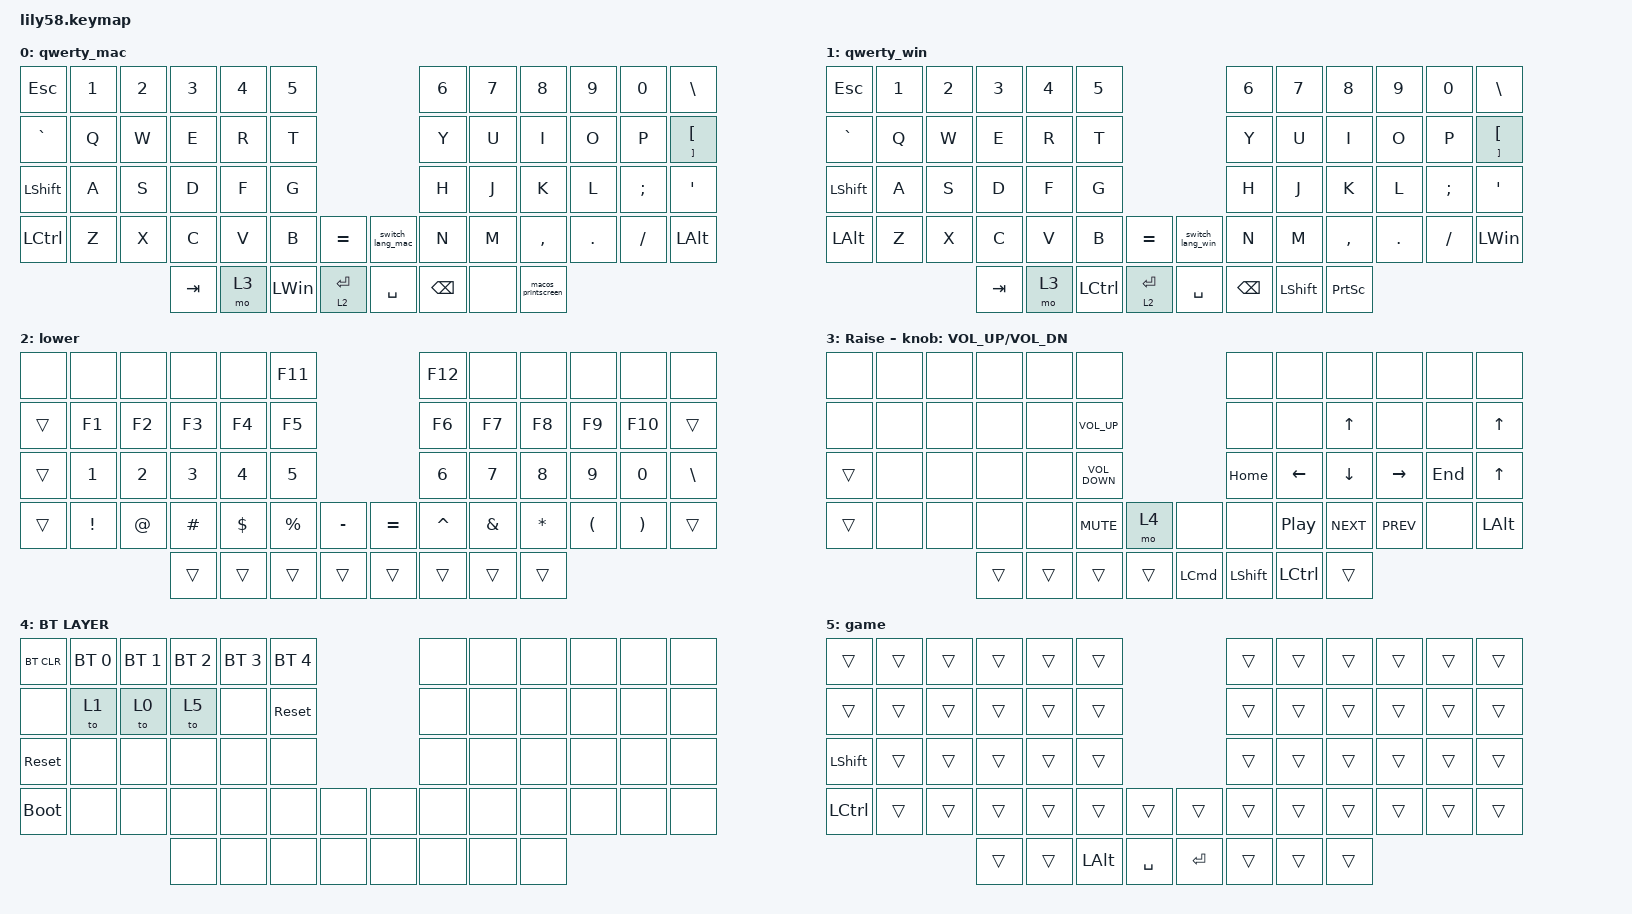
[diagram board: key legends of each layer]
/*
 * Copyright (c) 2020 The ZMK Contributors
 *
 * SPDX-License-Identifier: MIT
 */

#include <behaviors.dtsi>
#include <dt-bindings/zmk/bt.h>
#include <dt-bindings/zmk/keys.h>

/ {
    behaviors {
        //
        // Custom shifted pairs for the Engram layout
        // https://engram.dev/
        //
    };

    combos { compatible = "zmk,combos"; };

    macros {
        switch_lang_win: new_macro {
            compatible = "zmk,behavior-macro";
            #binding-cells = <0>;
            bindings =
                <&macro_press>,
                <&kp LEFT_ALT>,
                <&macro_tap>,
                <&kp LSHFT>,
                <&macro_release>,
                <&kp LEFT_ALT>;

            label = "NEW_MACRO";
        };

        macos_printscreen: macos_printscreen {
            compatible = "zmk,behavior-macro";
            #binding-cells = <0>;
            bindings =
                <&macro_press>,
                <&kp LEFT_COMMAND>,
                <&macro_press>,
                <&kp LEFT_SHIFT>,
                <&macro_press>,
                <&kp LEFT_CONTROL>,
                <&macro_tap>,
                <&kp NUMBER_4>,
                <&macro_release>,
                <&kp LEFT_WIN>,
                <&macro_release>,
                <&kp LEFT_SHIFT>,
                <&macro_release>,
                <&kp LEFT_CONTROL>;

            label = "MACOS_PRINTSCREEN";
        };

        switch_lang_mac: switch_lang_mac {
            compatible = "zmk,behavior-macro";
            #binding-cells = <0>;
            bindings =
                <&macro_press>,
                <&kp LEFT_CONTROL>,
                <&macro_tap>,
                <&kp SPACE>,
                <&macro_release>,
                <&kp LEFT_CONTROL>;

            label = "SWITCH_LANG_MAC";
        };
    };

    keymap {
        compatible = "zmk,keymap";

        qwerty_mac {
            bindings = <
&kp ESC         &kp N1  &kp N2  &kp N3   &kp N4  &kp N5                                       &kp N6    &kp N7  &kp N8              &kp N9   &kp N0    &kp BSLH
&kp GRAVE       &kp Q   &kp W   &kp E    &kp R   &kp T                                        &kp Y     &kp U   &kp I               &kp O    &kp P     &mt RIGHT_BRACKET LEFT_BRACKET
&kp LEFT_SHIFT  &kp A   &kp S   &kp D    &kp F   &kp G                                        &kp H     &kp J   &kp K               &kp L    &kp SEMI  &kp SQT
&kp LCTRL       &kp Z   &kp X   &kp C    &kp V   &kp B         &kp EQUAL    &switch_lang_mac  &kp N     &kp M   &kp COMMA           &kp DOT  &kp FSLH  &kp LEFT_ALT
                                &kp TAB  &mo 3   &kp LEFT_WIN  &lt 2 RET    &kp SPACE         &kp BSPC  &none   &macos_printscreen
            >;
        };

        qwerty_win {
            bindings = <
&kp ESC         &kp N1  &kp N2  &kp N3   &kp N4  &kp N5                                    &kp N6         &kp N7          &kp N8           &kp N9   &kp N0    &kp BACKSLASH
&kp GRAVE       &kp Q   &kp W   &kp E    &kp R   &kp T                                     &kp Y          &kp U           &kp I            &kp O    &kp P     &mt RIGHT_BRACKET LEFT_BRACKET
&kp LEFT_SHIFT  &kp A   &kp S   &kp D    &kp F   &kp G                                     &kp H          &kp J           &kp K            &kp L    &kp SEMI  &kp SQT
&kp LEFT_ALT    &kp Z   &kp X   &kp C    &kp V   &kp B      &kp EQUAL    &switch_lang_win  &kp N          &kp M           &kp COMMA        &kp DOT  &kp FSLH  &kp LEFT_WIN
                                &kp TAB  &mo 3   &kp LCTRL  &lt 2 RET    &kp SPACE         &kp BACKSPACE  &kp LEFT_SHIFT  &kp PRINTSCREEN
            >;
        };

        lower {
            // ------------------------------------------------------------------------------------------------------------
            // |    |    |    |    |         |     |                                      |      |      |    |     |     |     |
            // | F1 | F2 | F3 | F4 | F5      | F6  |                                      |  F7  | F8   | F9 | F10 | F11 | F12 |
            // |    | 1  | 2  | 3  | 4       | 5   |                                      |  6   | 7    | 8  | 9   |  0  |     |
            // |    | !  | @  | #  | $       | %   |    "-"    |              |   "="     |  ^   | &    | *  | (   |  )  |     |
            //                | <- |RAISE TAB|SHIFT|LOWER ENTER|              |LOWER SPACE| RAISE| BSPC | -> |

            label = "lower";
            bindings = <
&none   &none            &none         &none         &none         &kp F11                               &kp F12       &none          &none         &none                 &none                  &none
&trans  &kp F1           &kp F2        &kp F3        &kp F4        &kp F5                                &kp F6        &kp F7         &kp F8        &kp F9                &kp F10                &trans
&trans  &kp NUMBER_1     &kp NUMBER_2  &kp NUMBER_3  &kp NUMBER_4  &kp NUMBER_5                          &kp NUMBER_6  &kp NUMBER_7   &kp NUMBER_8  &kp N9                &kp NUMBER_0           &kp BSLH
&trans  &kp EXCLAMATION  &kp AT_SIGN   &kp HASH      &kp DOLLAR    &kp PERCENT   &kp MINUS    &kp EQUAL  &kp CARET     &kp AMPERSAND  &kp ASTERISK  &kp LEFT_PARENTHESIS  &kp RIGHT_PARENTHESIS  &trans
                                       &trans        &trans        &trans        &trans       &trans     &trans        &trans         &trans
            >;
        };

        raise_layer {
            // ------------------------------------------------------------------------------------------------------------
            // | F1 | F2 | F3 | F4 | F5 | F6  |                    | F7  | F8  | F9 |F10 | F11 | F12|
            // |    |    |  3 | 2  | 1  |vol_+|                    |     |     |  ^ |    |     |    |
            // |    |    |  6 | 5  | 4  |vol_-|                    |HOME | <-  |  v | -> | END |    |
            // |    | 0  |  9 | 8  | 7  |vol_0| BT_LAYER |    |    |     |PAUSE|NEXT|PREV|     |    |
            //                |    |    |     |     0    |    |    |SHIFT|     |    |

            label = "Raise";
            bindings = <
&none   &none  &none  &none   &none   &none                                          &none           &none             &none       &none       &none    &none
&none   &none  &none  &none   &none   &kp C_VOL_UP                                   &none           &none             &kp UP      &none       &none    &kp UP_ARROW
&trans  &none  &none  &none   &none   &kp C_VOLUME_DOWN                              &kp HOME        &kp LEFT          &kp DOWN    &kp RIGHT   &kp END  &kp UP
&trans  &none  &none  &none   &none   &kp K_MUTE         &mo 4     &none             &none           &kp C_PLAY_PAUSE  &kp C_NEXT  &kp C_PREV  &none    &kp LEFT_ALT
                      &trans  &trans  &trans             &trans    &kp LEFT_COMMAND  &kp LEFT_SHIFT  &kp LEFT_CONTROL  &trans
            >;

            sensor-bindings = <&inc_dec_kp C_VOL_UP C_VOL_DN>;
        };

        bt_layer {
            bindings = <
&bt BT_CLR   &bt BT_SEL 0  &bt BT_SEL 1  &bt BT_SEL 2  &bt BT_SEL 3  &bt BT_SEL 4                  &none  &none  &none  &none  &none  &none
&none        &to 1         &to 0         &to 5         &none         &sys_reset                    &none  &none  &none  &none  &none  &none
&sys_reset   &none         &none         &none         &none         &none                         &none  &none  &none  &none  &none  &none
&bootloader  &none         &none         &none         &none         &none         &none    &none  &none  &none  &none  &none  &none  &none
                                         &none         &none         &none         &none    &none  &none  &none  &none
            >;

            label = "BT LAYER";
        };

        game {
            bindings = <
&trans          &trans  &trans  &trans  &trans  &trans                                &trans  &trans  &trans  &trans  &trans  &trans
&trans          &trans  &trans  &trans  &trans  &trans                                &trans  &trans  &trans  &trans  &trans  &trans
&kp LEFT_SHIFT  &trans  &trans  &trans  &trans  &trans                                &trans  &trans  &trans  &trans  &trans  &trans
&kp LCTRL       &trans  &trans  &trans  &trans  &trans        &trans       &trans     &trans  &trans  &trans  &trans  &trans  &trans
                                &trans  &trans  &kp LEFT_ALT  &kp SPACE    &kp ENTER  &trans  &trans  &trans
            >;
        };
    };
};
